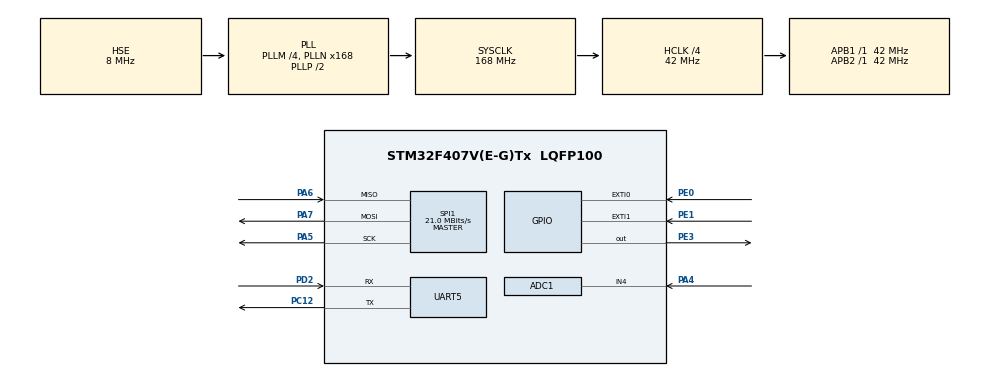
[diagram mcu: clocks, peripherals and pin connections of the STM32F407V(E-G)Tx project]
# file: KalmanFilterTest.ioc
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ADC1.Channel-0\#ChannelRegularConversion=ADC_CHANNEL_4
ADC1.ExternalTrigConv=ADC_EXTERNALTRIGCONV_T8_TRGO
ADC1.InjNumberOfConversion=0
ADC1.NbrOfConversionFlag=1
ADC1.Rank-0\#ChannelRegularConversion=1
ADC1.SamplingTime-0\#ChannelRegularConversion=ADC_SAMPLETIME_15CYCLES
ADC1.master=1
Mcu.Family=STM32F4
Mcu.Name=STM32F407V(E-G)Tx
Mcu.Package=LQFP100
NVIC.ADC_IRQn=true\:0\:0\:false\:false\:true\:true\:true\:true
NVIC.PriorityGroup=NVIC_PRIORITYGROUP_4
NVIC.TIM1_UP_TIM10_IRQn=true\:0\:0\:false\:false\:true\:true\:true\:true
PA4.Signal=ADCx_IN4
PA5.Mode=Full_Duplex_Master
PA5.Signal=SPI1_SCK
PA6.Mode=Full_Duplex_Master
PA6.Signal=SPI1_MISO
PA7.Mode=Full_Duplex_Master
PA7.Signal=SPI1_MOSI
PC12.Mode=Asynchronous
PC12.Signal=UART5_TX
PD2.Mode=Asynchronous
PD2.Signal=UART5_RX
PE0.Signal=GPXTI0
PE1.Signal=GPXTI1
PE3.Signal=GPIO_Output
PH0-OSC_IN.Mode=HSE-External-Oscillator
PH0-OSC_IN.Signal=RCC_OSC_IN
PH1-OSC_OUT.Mode=HSE-External-Oscillator
PH1-OSC_OUT.Signal=RCC_OSC_OUT
ProjectManager.HeapSize=0x200
ProjectManager.StackSize=0x400
ProjectManager.TargetToolchain=STM32CubeIDE
RCC.48MHZClocksFreq_Value=84000000
RCC.AHBCLKDivider=RCC_SYSCLK_DIV4
RCC.AHBFreq_Value=42000000
RCC.APB1Freq_Value=42000000
RCC.APB1TimFreq_Value=42000000
RCC.APB2Freq_Value=42000000
RCC.APB2TimFreq_Value=42000000
RCC.CortexFreq_Value=42000000
RCC.HCLKFreq_Value=42000000
RCC.HSE_VALUE=8000000
RCC.HSI_VALUE=16000000
RCC.LSE_VALUE=32768
RCC.PLLM=4
RCC.PLLN=168
RCC.PLLSourceVirtual=RCC_PLLSOURCE_HSE
RCC.SYSCLKFreq_VALUE=168000000
RCC.SYSCLKSource=RCC_SYSCLKSOURCE_PLLCLK
RCC.VCOOutputFreq_Value=336000000
SH.ADCx_IN4.0=ADC1_IN4,IN4
SPI1.CalculateBaudRate=21.0 MBits/s
SPI1.Direction=SPI_DIRECTION_2LINES
SPI1.Mode=SPI_MODE_MASTER
SPI1.VirtualType=VM_MASTER
TIM10.Period=10000
TIM10.Prescaler=42
TIM11.Prescaler=42
TIM8.Period=10000
TIM8.Prescaler=42
TIM8.TIM_MasterOutputTrigger=TIM_TRGO_UPDATE
TIM8.TIM_MasterSlaveMode=TIM_MASTERSLAVEMODE_ENABLE
UART5.VirtualMode=Asynchronous
VP_TIM10_VS_ClockSourceINT.Mode=Enable_Timer
VP_TIM11_VS_ClockSourceINT.Mode=Enable_Timer
VP_TIM8_VS_ClockSourceINT.Mode=Internal
board=custom

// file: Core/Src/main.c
/* USER CODE BEGIN Header */
/**
  ******************************************************************************
  * @file           : main.c
  * @brief          : Main program body
  ******************************************************************************
  * @attention
  *
  * Copyright (c) 2025 STMicroelectronics.
  * All rights reserved.
  *
  * This software is licensed under terms that can be found in the LICENSE file
  * in the root directory of this software component.
  * If no LICENSE file comes with this software, it is provided AS-IS.
  *
  ******************************************************************************
  */
/* USER CODE END Header */
#include "main.h"

/* USER CODE BEGIN Includes */
#include "accelerometer.h"
#include "gyroscope.h"
#include "KalmanFilter.h"

#define ARM_MATH_AUTOVECTORIZE

/* USER CODE END Includes */

ADC_HandleTypeDef hadc1;

SPI_HandleTypeDef hspi1;

TIM_HandleTypeDef htim8;
TIM_HandleTypeDef htim10;
TIM_HandleTypeDef htim11;

UART_HandleTypeDef huart5;

/* USER CODE BEGIN PV */
int cnt2 = 0, cnt3 = 0;
/* USER CODE END PV */

void SystemClock_Config(void);
static void MX_GPIO_Init(void);
static void MX_SPI1_Init(void);
static void MX_ADC1_Init(void);
static void MX_UART5_Init(void);
static void MX_TIM8_Init(void);
static void MX_TIM10_Init(void);
static void MX_TIM11_Init(void);

int main(void)
{

  /* MCU Configuration--------------------------------------------------------*/

  /* Reset of all peripherals, Initializes the Flash interface and the Systick. */
  HAL_Init();

  /* Configure the system clock */
  SystemClock_Config();

  /* Initialize all configured peripherals */
  MX_GPIO_Init();
  MX_SPI1_Init();
  MX_ADC1_Init();
  MX_UART5_Init();
  MX_TIM8_Init();
  MX_TIM10_Init();
  MX_TIM11_Init();
  /* USER CODE BEGIN 2 */

  KalmanInit();

  AccelInit(&hspi1);
  HAL_TIM_Base_Start(&htim8);
  HAL_ADC_Start_IT(&hadc1);

  HAL_TIM_Base_Start_IT(&htim10);
  calculateGyroAVelocityBase(10);

  /* USER CODE END 2 */

  /* Infinite loop */
  while (1)
  {

  }
}

void SystemClock_Config(void)
{
  RCC_OscInitTypeDef RCC_OscInitStruct = {0};
  RCC_ClkInitTypeDef RCC_ClkInitStruct = {0};

  /** Configure the main internal regulator output voltage
  */
  __HAL_RCC_PWR_CLK_ENABLE();
  __HAL_PWR_VOLTAGESCALING_CONFIG(PWR_REGULATOR_VOLTAGE_SCALE1);

  /** Initializes the RCC Oscillators according to the specified parameters
  * in the RCC_OscInitTypeDef structure.
  */
  RCC_OscInitStruct.OscillatorType = RCC_OSCILLATORTYPE_HSE;
  RCC_OscInitStruct.HSEState = RCC_HSE_ON;
  RCC_OscInitStruct.PLL.PLLState = RCC_PLL_ON;
  RCC_OscInitStruct.PLL.PLLSource = RCC_PLLSOURCE_HSE;
  RCC_OscInitStruct.PLL.PLLM = 4;
  RCC_OscInitStruct.PLL.PLLN = 168;
  RCC_OscInitStruct.PLL.PLLP = RCC_PLLP_DIV2;
  RCC_OscInitStruct.PLL.PLLQ = 4;
  if (HAL_RCC_OscConfig(&RCC_OscInitStruct) != HAL_OK)
  {
    Error_Handler();
  }

  /** Initializes the CPU, AHB and APB buses clocks
  */
  RCC_ClkInitStruct.ClockType = RCC_CLOCKTYPE_HCLK|RCC_CLOCKTYPE_SYSCLK
                              |RCC_CLOCKTYPE_PCLK1|RCC_CLOCKTYPE_PCLK2;
  RCC_ClkInitStruct.SYSCLKSource = RCC_SYSCLKSOURCE_PLLCLK;
  RCC_ClkInitStruct.AHBCLKDivider = RCC_SYSCLK_DIV4;
  RCC_ClkInitStruct.APB1CLKDivider = RCC_HCLK_DIV1;
  RCC_ClkInitStruct.APB2CLKDivider = RCC_HCLK_DIV1;

  if (HAL_RCC_ClockConfig(&RCC_ClkInitStruct, FLASH_LATENCY_1) != HAL_OK)
  {
    Error_Handler();
  }
}

static void MX_ADC1_Init(void)
{

  ADC_ChannelConfTypeDef sConfig = {0};

  /** Configure the global features of the ADC (Clock, Resolution, Data Alignment and number of conversion)
  */
  hadc1.Instance = ADC1;
  hadc1.Init.ClockPrescaler = ADC_CLOCK_SYNC_PCLK_DIV2;
  hadc1.Init.Resolution = ADC_RESOLUTION_12B;
  hadc1.Init.ScanConvMode = DISABLE;
  hadc1.Init.ContinuousConvMode = DISABLE;
  hadc1.Init.DiscontinuousConvMode = DISABLE;
  hadc1.Init.ExternalTrigConvEdge = ADC_EXTERNALTRIGCONVEDGE_RISING;
  hadc1.Init.ExternalTrigConv = ADC_EXTERNALTRIGCONV_T8_TRGO;
  hadc1.Init.DataAlign = ADC_DATAALIGN_RIGHT;
  hadc1.Init.NbrOfConversion = 1;
  hadc1.Init.DMAContinuousRequests = DISABLE;
  hadc1.Init.EOCSelection = ADC_EOC_SINGLE_CONV;
  if (HAL_ADC_Init(&hadc1) != HAL_OK)
  {
    Error_Handler();
  }

  /** Configure for the selected ADC regular channel its corresponding rank in the sequencer and its sample time.
  */
  sConfig.Channel = ADC_CHANNEL_4;
  sConfig.Rank = 1;
  sConfig.SamplingTime = ADC_SAMPLETIME_15CYCLES;
  if (HAL_ADC_ConfigChannel(&hadc1, &sConfig) != HAL_OK)
  {
    Error_Handler();
  }

}

static void MX_SPI1_Init(void)
{

  /* SPI1 parameter configuration*/
  hspi1.Instance = SPI1;
  hspi1.Init.Mode = SPI_MODE_MASTER;
  hspi1.Init.Direction = SPI_DIRECTION_2LINES;
  hspi1.Init.DataSize = SPI_DATASIZE_8BIT;
  hspi1.Init.CLKPolarity = SPI_POLARITY_LOW;
  hspi1.Init.CLKPhase = SPI_PHASE_1EDGE;
  hspi1.Init.NSS = SPI_NSS_SOFT;
  hspi1.Init.BaudRatePrescaler = SPI_BAUDRATEPRESCALER_2;
  hspi1.Init.FirstBit = SPI_FIRSTBIT_MSB;
  hspi1.Init.TIMode = SPI_TIMODE_DISABLE;
  hspi1.Init.CRCCalculation = SPI_CRCCALCULATION_DISABLE;
  hspi1.Init.CRCPolynomial = 10;
  if (HAL_SPI_Init(&hspi1) != HAL_OK)
  {
    Error_Handler();
  }

}

static void MX_TIM8_Init(void)
{

  TIM_ClockConfigTypeDef sClockSourceConfig = {0};
  TIM_MasterConfigTypeDef sMasterConfig = {0};

  htim8.Instance = TIM8;
  htim8.Init.Prescaler = 42;
  htim8.Init.CounterMode = TIM_COUNTERMODE_UP;
  htim8.Init.Period = 10000;
  htim8.Init.ClockDivision = TIM_CLOCKDIVISION_DIV1;
  htim8.Init.RepetitionCounter = 0;
  htim8.Init.AutoReloadPreload = TIM_AUTORELOAD_PRELOAD_DISABLE;
  if (HAL_TIM_Base_Init(&htim8) != HAL_OK)
  {
    Error_Handler();
  }
  sClockSourceConfig.ClockSource = TIM_CLOCKSOURCE_INTERNAL;
  if (HAL_TIM_ConfigClockSource(&htim8, &sClockSourceConfig) != HAL_OK)
  {
    Error_Handler();
  }
  sMasterConfig.MasterOutputTrigger = TIM_TRGO_UPDATE;
  sMasterConfig.MasterSlaveMode = TIM_MASTERSLAVEMODE_ENABLE;
  if (HAL_TIMEx_MasterConfigSynchronization(&htim8, &sMasterConfig) != HAL_OK)
  {
    Error_Handler();
  }

}

static void MX_TIM10_Init(void)
{

  htim10.Instance = TIM10;
  htim10.Init.Prescaler = 42;
  htim10.Init.CounterMode = TIM_COUNTERMODE_UP;
  htim10.Init.Period = 10000;
  htim10.Init.ClockDivision = TIM_CLOCKDIVISION_DIV1;
  htim10.Init.AutoReloadPreload = TIM_AUTORELOAD_PRELOAD_DISABLE;
  if (HAL_TIM_Base_Init(&htim10) != HAL_OK)
  {
    Error_Handler();
  }

}

static void MX_TIM11_Init(void)
{

  htim11.Instance = TIM11;
  htim11.Init.Prescaler = 42;
  htim11.Init.CounterMode = TIM_COUNTERMODE_UP;
  htim11.Init.Period = 65535;
  htim11.Init.ClockDivision = TIM_CLOCKDIVISION_DIV1;
  htim11.Init.AutoReloadPreload = TIM_AUTORELOAD_PRELOAD_DISABLE;
  if (HAL_TIM_Base_Init(&htim11) != HAL_OK)
  {
    Error_Handler();
  }

}

static void MX_UART5_Init(void)
{

  huart5.Instance = UART5;
  huart5.Init.BaudRate = 115200;
  huart5.Init.WordLength = UART_WORDLENGTH_8B;
  huart5.Init.StopBits = UART_STOPBITS_1;
  huart5.Init.Parity = UART_PARITY_NONE;
  huart5.Init.Mode = UART_MODE_TX_RX;
  huart5.Init.HwFlowCtl = UART_HWCONTROL_NONE;
  huart5.Init.OverSampling = UART_OVERSAMPLING_16;
  if (HAL_UART_Init(&huart5) != HAL_OK)
  {
    Error_Handler();
  }

}

static void MX_GPIO_Init(void)
{
  GPIO_InitTypeDef GPIO_InitStruct = {0};

  /* GPIO Ports Clock Enable */
  __HAL_RCC_GPIOE_CLK_ENABLE();
  __HAL_RCC_GPIOH_CLK_ENABLE();
  __HAL_RCC_GPIOA_CLK_ENABLE();
  __HAL_RCC_GPIOC_CLK_ENABLE();
  __HAL_RCC_GPIOD_CLK_ENABLE();

  /*Configure GPIO pin Output Level */
  HAL_GPIO_WritePin(GPIOE, GPIO_PIN_3, GPIO_PIN_RESET);

  /*Configure GPIO pin : PE3 */
  GPIO_InitStruct.Pin = GPIO_PIN_3;
  GPIO_InitStruct.Mode = GPIO_MODE_OUTPUT_PP;
  GPIO_InitStruct.Pull = GPIO_NOPULL;
  GPIO_InitStruct.Speed = GPIO_SPEED_FREQ_LOW;
  HAL_GPIO_Init(GPIOE, &GPIO_InitStruct);

  /*Configure GPIO pins : PE0 PE1 */
  GPIO_InitStruct.Pin = GPIO_PIN_0|GPIO_PIN_1;
  GPIO_InitStruct.Mode = GPIO_MODE_IT_RISING;
  GPIO_InitStruct.Pull = GPIO_NOPULL;
  HAL_GPIO_Init(GPIOE, &GPIO_InitStruct);

}

/* USER CODE BEGIN 4 */

void HAL_TIM_PeriodElapsedCallback(TIM_HandleTypeDef *htim)
{
	if (htim->Instance == TIM10){
		__HAL_TIM_SET_COUNTER(&htim11, 0);
		 HAL_TIM_Base_Start(&htim11);

	  readAccelerometer(&hspi1);
	  KalmanPredict();
	  KalmanUpdate();
	  //speed = calculateSpeed(targetAngle, angle, angularVelocity, Kp1, Ki1, Kd1, &integralAngle, &previousFilteredAngle, angleTd);

	  HAL_UART_Transmit(&huart5, &accAngle, 4, 1);
//	  HAL_UART_Transmit(&huart5, &angle, 4, 1);			// moving average
	  HAL_UART_Transmit(&huart5, &X_data[0], 4, 1);

//	  HAL_UART_Transmit(&huart5, &angularVelocity, 4, 1);
//	  HAL_UART_Transmit(&huart5, &X_data[1], 4, 1);

	  HAL_TIM_Base_Stop(&htim11);
	  cnt2 = __HAL_TIM_GET_COUNTER(&htim11);
	}
}

void HAL_ADC_ConvCpltCallback(ADC_HandleTypeDef *hadc)
{
  /* Prevent unused argument(s) compilation warning */
  UNUSED(hadc);
  /* NOTE : This function Should not be modified, when the callback is needed,
            the HAL_ADC_ConvCpltCallback could be implemented in the user file
   */
  __HAL_TIM_SET_COUNTER(&htim11, 0);
  HAL_TIM_Base_Start(&htim11);

  gyroValue = HAL_ADC_GetValue(hadc);
  calculateGyroAngle();

  HAL_TIM_Base_Stop(&htim11);
  cnt3 = __HAL_TIM_GET_COUNTER(&htim11);

}

/* USER CODE END 4 */

void Error_Handler(void)
{
  __disable_irq();
  while (1)
  {
  }
}
